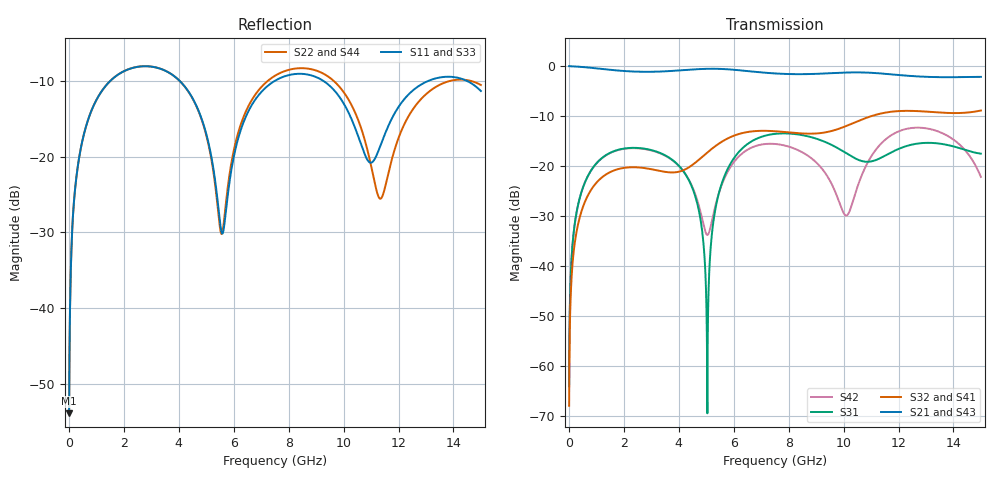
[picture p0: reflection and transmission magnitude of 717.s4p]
! Created with skrf 1.8.0 (http://scikit-rf.org).
# GHz S RI R 50.0
!freq ReS11 ImS11 ReS12 ImS12 ReS13 ImS13
! ReS14 ImS14
! ReS21 ImS21 ReS22 ImS22 ReS23 ImS23
! ReS24 ImS24
! ReS31 ImS31 ReS32 ImS32 ReS33 ImS33
! ReS34 ImS34
! ReS41 ImS41 ReS42 ImS42 ReS43 ImS43
! ReS44 ImS44
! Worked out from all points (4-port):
!   2499 points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, 5 MHz to 15 GHz, reference 50 ohm
!   strongest paths, dB at 5 MHz, 3.476 GHz, 7.19 GHz, 11.1 GHz, 15 GHz:
!     S21: 0.0, -1.1, -1.3, -1.4, -2.1
!     S43: 0.0, -1.1, -1.3, -1.4, -2.2
!     S32: -67.9, -21.1, -12.9, -9.8, -8.9
!     S41: -67.9, -21.2, -13.0, -9.8, -8.9
!     S31: -63.9, -17.8, -13.8, -18.9, -17.5
!     S42: -63.9, -17.8, -15.5, -17.3, -22.1
!   lowest |S11| = -53.9 dB at 5 MHz (marker M1), VSWR 1.00, Z = 50.2 + j0.123 ohm
!   |S11| at or under -10 dB: start of sweep to 1.507 GHz; 4.03 GHz to 7.496 GHz (3.466 GHz wide, 60.1 % of centre); 9.261 GHz to 13.09 GHz (3.827 GHz wide, 34.2 % of centre) (the widest 3 of 4)
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0.005  0.00161 0.00123  0.9984 -0.00314  8.06e-05 0.00063  -7.84e-05 -0.000396
       0.9984 -0.00314  0.00161 0.00123  -7.84e-05 -0.000396  8.06e-05 0.00063
       8.06e-05 0.00063  -7.84e-05 -0.000396  0.00161 0.00123  0.9984 -0.00314
       -7.84e-05 -0.000396  8.06e-05 0.00063  0.9984 -0.00314  0.00161 0.00123
0.3126303  0.0234 0.0809  0.9681 -0.1956  0.0106 0.0374  -0.0088 -0.0233
           0.9681 -0.1956  0.0234 0.0809  -0.00881 -0.0233  0.0105 0.0375
           0.0106 0.0374  -0.00881 -0.0233  0.0234 0.0809  0.9681 -0.1956
           -0.0088 -0.0233  0.0105 0.0375  0.9681 -0.1956  0.0234 0.0809
1.569404  0.2691 0.1804  0.5524 -0.7285  0.1258 0.059  -0.0887 -0.00696
          0.5524 -0.7285  0.2697 0.18  -0.0889 -0.00675  0.1238 0.0616
          0.1258 0.059  -0.0889 -0.00675  0.269 0.1805  0.5523 -0.7285
          -0.0887 -0.00696  0.1238 0.0616  0.5523 -0.7285  0.2698 0.1798
5.033347  0.0657 -0.1165  -0.8714 -0.3513  -0.000151 -0.000503  -0.0486 0.1278
          -0.8714 -0.3513  0.0639 -0.1142  -0.0456 0.1289  -0.0196 -0.00635
          -0.000151 -0.000503  -0.0456 0.1289  0.0662 -0.116  -0.8715 -0.3511
          -0.0486 0.1278  -0.0196 -0.00635  -0.8715 -0.3511  0.0631 -0.1142
6.67153  0.1604 0.1525  -0.7397 0.4812  0.1628 0.0735  0.1529 0.1609
         -0.7397 0.4812  0.176 0.1613  0.1571 0.1581  0.1052 0.113
         0.1628 0.0735  0.1571 0.1581  0.1603 0.1528  -0.7392 0.4814
         0.1529 0.1609  0.1052 0.113  -0.7392 0.4814  0.1771 0.1627
11.09212  0.0926 0.0154  0.8404 0.1547  -0.0877 0.0716  0.0623 -0.3154
          0.8404 0.1547  0.0522 -0.0511  0.0485 -0.3178  0.0583 0.1229
          -0.0877 0.0716  0.0485 -0.3178  0.0962 0.0107  0.84 0.1558
          0.0623 -0.3154  0.0583 0.1229  0.84 0.1558  0.0526 -0.0534
15  0.2521 -0.0997  -0.2696 -0.7327  -0.0387 -0.1279  -0.3353 0.129
    -0.2696 -0.7327  0.2872 -0.0758  -0.3269 0.1508  0.00877 -0.0777
    -0.0387 -0.1279  -0.3269 0.1508  0.2556 -0.0954  -0.2693 -0.7323
    -0.3353 0.129  0.00877 -0.0777  -0.2693 -0.7323  0.2885 -0.0809
